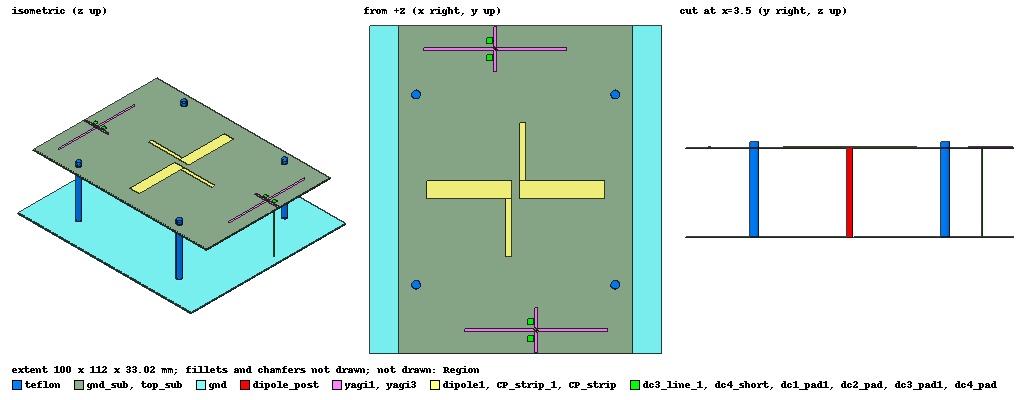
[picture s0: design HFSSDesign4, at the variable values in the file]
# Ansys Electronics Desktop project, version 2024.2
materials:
  Rogers RT/duroid 5880 (tm): permittivity=2.2 dielectric_loss_tangent=0.0009
  Teflon (tm): permittivity=2.1 dielectric_loss_tangent=0.001
  copper: permeability=0.999991 conductivity=58000000
  vacuum: permittivity=1

design HFSSDesign4 (HFSS, HFSS Modal Network, model units mm)
options: Allow_Material_Override
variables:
  gnd_subx = 100mm
  gnd_suby = 112mm
  gnd_subz = 0.5mm
  thickness_metal = 0.018mm
  slot_w = 2mm  # optimise 1mm..3mm
  slot_l = 37mm  # optimise 34mm..40mm
  feedline1_w = 3.58mm
  feedline1_l = 30mm
  feedline2_xposi = 6mm
  feedline2_yposi = 9mm  # optimise 7mm..11mm
  feedline2_w = 1.49mm
  top_subx = 80mm
  top_suby = 112mm
  top_sub_zposi = 30mm  # optimise 28mm..32mm
  dipole_gap = 3mm  # optimise 2mm..4mm
  dipole_w = 6mm  # optimise 4mm..7mm
  dipole_l = 29mm  # 28; optimise 26mm..32mm
  dipole_post_xposi = 2mm  # optimise 1.5mm..3mm
  dipole_post_r = 1mm
  strip_w = 2mm  # optimise 1mm..3mm
  strip_l = 20mm  # 20; optimise 17mm..23mm
  yagi_w = 1mm  # optimise 0.5mm..2mm
  yagi_l1 = 49mm  # optimise 46mm..53mm
  yagi_l2 = 14.5mm  # 15; optimise 12mm..16mm
  yagi_yposi = 25mm  # optimise 15mm..19mm
  yagi_w2 = 1mm  # optimise 0.5mm..1.5mm
  yagi2_xposi = 0mm
  yagi2_rotate_deg = 45deg
  yagi_xmove = 7mm  # 6; optimise 5mm..9mm
  yagi2_xmove = 0mm
  yagi_cut_l = 2mm
  yagi_cut_w = 0.6mm
  rlc = 0.5mm
  para_w = 3mm
  para_dipole_gap = 1mm
  para_deg = 40deg
  para_roatate = 45deg
  pin_ind = 0.6nH
  pin_cap = 0.17pF
  pin_res = 8000ohm
  dc_pad = 2mm
  dc_line_w = 0.2mm
  yagi2_w = 1mm
  yagi2_l1 = 49mm
  yagi2_yposi = 17.5mm
  yagi3_l1 = yagi_l1
  yagi3_xmove = yagi_xmove
  yagi3_yposi = yagi_yposi
  yagi3_w2 = yagi_w2
  yagi3_w = yagi_w
  yagi3_l2 = yagi_l2
  pinstate = 3
  pinOFF = 8000ohm
  pinON = 2.1ohm
  dc_yposi = yagi_l2/8
  sup_xposi = 6mm
  pincapOFF = 0.17pF
  pincapON = 0pF
  gnd_cut_w = if(abs((dipole_gap/2+dipole_post_xposi)-dipole_post_r-gnd_sub_cut_w-gnd_cut_a-slot_w/2)>0.3mm,gnd_cut_a,if((dipole_gap/2+dipole_post_xposi)-dipole_post_r-gnd_sub_cut_w-gnd_cut_a-slot_w/2>0mm,(dipole_gap/2+dipole_post_xposi)-dipole_post_r-gnd_sub_cut_w-slot_w/2-0.3mm,(dipole_gap/2+dipole_post_xposi)-dipole_post_r-gnd_sub_cut_w-slot_w/2+0.3mm))
  gnd_sub_cut_w = 0.2mm
  gnd_cut_a = 1.1mm  # optimise 0mm..2mm
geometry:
  gnd_sub [Rogers RT/duroid 5880 (tm)] = box(corner=(-gnd_subx/2, -gnd_suby/2, 0mm), size=(gnd_subx, gnd_suby, -gnd_subz))
  gnd [copper] = box(corner=(-gnd_subx/2, -gnd_suby/2, 0mm), size=(gnd_subx, gnd_suby, thickness_metal))
  slot = box(corner=(-slot_w/2, -slot_l/2, 0mm), size=(slot_w, slot_l, thickness_metal))
  gnd.subtract(slot)
  feedline1 [copper] = polyline((gnd_subx/2, 0mm, -gnd_subz) (gnd_subx/2-feedline1_l, 0mm, -gnd_subz), section line width=feedline1_w)
  feedline2 = polyline(z=-gnd_subz, xy: (-feedline2_xposi, -slot_l/2+feedline2_yposi) (gnd_subx/2-feedline1_l, -slot_l/2+feedline2_yposi) (gnd_subx/2-feedline1_l, slot_l/2-feedline2_yposi) (-feedline2_xposi, slot_l/2-feedline2_yposi), section line width=feedline2_w)
  feedline2.chamfer(Vertices=feedline1.vertex(at (20.745, -10.245, -0.5), at (20.745, 10.245, -0.5)) LeftDistance=1.49mm RightDistance=1.49mm ChamferType=Symmetric)
  feedline1.thicken(0.018mm)
  feedline2.thicken(-0.018mm)
  port = rectangle(corner=(gnd_subx/2, -feedline1_w/2, 0mm), y_size=feedline1_w, z_size=-gnd_subz)
  Region [vacuum] = region(absolute_offset=40mm on all sides)
  top_sub [Rogers RT/duroid 5880 (tm)] = box(corner=(-top_subx/2, -top_suby/2, top_sub_zposi), size=(top_subx, top_suby, gnd_subz))
  dipole1 [copper] = box(corner=(dipole_gap/2, -dipole_w/2, top_sub_zposi+gnd_subz), size=(dipole_l, dipole_w, thickness_metal))
  dipole2 = dipole1.duplicate_mirror(point=(0mm, 0mm, 0mm), normal=(-1mm, 0mm, 0mm))
  dipole1.unite(dipole2)
  dipole_post [copper] = cylinder(axis=Z, base_centre=(dipole_gap/2+dipole_post_xposi, 0mm, -gnd_subz), radius=dipole_post_r, height=top_sub_zposi+gnd_subz*2)
  dipole_post_1 [copper] = dipole_post.duplicate_mirror(point=(0mm, 0mm, 0mm), normal=(-1mm, 0mm, 0mm))
  CP_strip [copper] = box(corner=(dipole_gap/2, dipole_w/2, top_sub_zposi+gnd_subz), size=(strip_w, strip_l, thickness_metal))
  CP_strip_1 [copper] = CP_strip.duplicate_around_axis(axis=Z, angle=180deg, total=2)
  yagi1 [copper] = polyline((-yagi_l1/2, -dipole_w/2-strip_l-yagi_yposi, top_sub_zposi+gnd_subz) (yagi_l1/2, -dipole_w/2-strip_l-yagi_yposi, top_sub_zposi+gnd_subz), section line width=yagi_w)
  yagi2 = polyline((yagi2_xposi +yagi_xmove+yagi2_xmove, -dipole_w/2-strip_l-yagi_yposi -yagi_w/2-yagi_l2/2, top_sub_zposi+gnd_subz) (yagi2_xposi+yagi_xmove+yagi2_xmove, -dipole_w/2-strip_l-yagi_yposi +yagi_w/2+yagi_l2/2, top_sub_zposi+gnd_subz), section line width=yagi_w2)
  [yagi1, yagi2].thicken(-0.018mm)
  coordinate_system RelativeCS1 = origin=(yagi_xmove, -dipole_w/2-strip_l-yagi_yposi, top_sub_zposi+gnd_subz) x=(1mm, 0mm, 0mm) y=(0mm, 1mm, 0mm)
  yagi1.move(yagi_xmove, 0mm, 0mm)
  yagi_cut = polyline((yagi2_xposi +yagi_xmove+yagi2_xmove-yagi_cut_l, -dipole_w/2-strip_l-yagi_yposi, top_sub_zposi+gnd_subz) (yagi2_xposi +yagi_xmove+yagi2_xmove+yagi_cut_l, -dipole_w/2-strip_l-yagi_yposi, top_sub_zposi+gnd_subz), section line width=yagi_cut_w)
  yagi_cut.rotate(axis=Z, angle=-45deg) in RelativeCS1
  yagi_cut.thicken(-0.018mm)
  yagi_cut_1 = yagi_cut.copy()
  yagi1.subtract(yagi_cut_1)
  yagi2.subtract(yagi_cut)
  yagi1.unite(yagi2)
  sw1_1 = rectangle(corner=(yagi2_xposi +yagi_xmove+yagi2_xmove-rlc, -dipole_w/2-strip_l-yagi_yposi -rlc/2, top_sub_zposi+gnd_subz), x_size=rlc, y_size=rlc)
  sw1_2 = rectangle(corner=(yagi2_xposi +yagi_xmove+yagi2_xmove, -dipole_w/2-strip_l-yagi_yposi -rlc/2, top_sub_zposi+gnd_subz), x_size=rlc, y_size=rlc)
  coordinate_system RelativeCS2 = origin=(-yagi3_xmove, -(-dipole_w/2-strip_l-yagi_yposi), top_sub_zposi+gnd_subz) x=(1mm, 0mm, 0mm) y=(0mm, 1mm, 0mm)
  yagi3 [copper] = polyline((-yagi3_l1/2-yagi3_xmove, dipole_w/2+strip_l+yagi3_yposi, top_sub_zposi+gnd_subz) (yagi3_l1/2-yagi3_xmove, dipole_w/2+strip_l+yagi3_yposi, top_sub_zposi+gnd_subz), section line width=yagi3_w)
  yagi4 = polyline((-yagi3_xmove, -(-dipole_w/2-strip_l-yagi3_yposi -yagi3_w/2-yagi3_l2/2 ), top_sub_zposi+gnd_subz) (-yagi3_xmove, -(-dipole_w/2-strip_l-yagi3_yposi +yagi3_w/2+yagi3_l2/2 ), top_sub_zposi+gnd_subz), section line width=yagi3_w2)
  yagi3_cut = polyline((-yagi3_xmove-yagi_cut_l, -(-dipole_w/2-strip_l-yagi3_yposi), top_sub_zposi+gnd_subz) (-yagi3_xmove+yagi_cut_l, -(-dipole_w/2-strip_l-yagi3_yposi), top_sub_zposi+gnd_subz), section line width=rlc)
  yagi3_cut.rotate(axis=Z, angle=-45deg) in RelativeCS2
  yagi3.unite(yagi4)
  yagi3.subtract(yagi3_cut)
  yagi3.thicken(-0.018mm)
  [sw1_1, sw1_2].rotate(axis=Z, angle=45deg) in RelativeCS1
  sw2_1 = rectangle(corner=(-yagi3_xmove-rlc, -(-dipole_w/2-strip_l-yagi3_yposi)-rlc/2, top_sub_zposi+gnd_subz), x_size=rlc, y_size=rlc)
  sw2_2 = rectangle(corner=(-yagi3_xmove, -(-dipole_w/2-strip_l-yagi3_yposi)-rlc/2, top_sub_zposi+gnd_subz), x_size=rlc, y_size=rlc)
  [sw2_1, sw2_2].rotate(axis=Z, angle=45deg) in RelativeCS2
  feedline1.unite(feedline2)
  gnd_sub_cut = cylinder(axis=Z, base_centre=(dipole_gap/2+dipole_post_xposi, 0mm, 0), radius=dipole_post_r+gnd_sub_cut_w, height=-gnd_subz)
  top_sub_post_cut = cylinder(axis=Z, base_centre=(dipole_gap/2+dipole_post_xposi, 0mm, top_sub_zposi), radius=dipole_post_r+0.2mm, height=gnd_subz)
  top_sub_post_cut_1 = top_sub_post_cut.duplicate_mirror(point=(0mm, 0mm, 0mm), normal=(-1mm, 0mm, 0mm))
  top_sub.subtract(top_sub_post_cut, top_sub_post_cut_1)
  coordinate_system RelativeCS3 = origin=(yagi_xmove, -dipole_w/2-strip_l-yagi_yposi, top_sub_zposi+gnd_subz) x=(1mm, 0mm, 0mm) y=(0mm, 1mm, 0mm)
  dc1_pad1 [copper] = box(corner=(-yagi_w2/2-rlc, dc_yposi, 0mm), size=(-dc_pad, dc_pad, thickness_metal)) in RelativeCS3
  dc1_pad2 [copper] = box(corner=(-yagi_w2/2-rlc-dc_pad/2, dc_yposi +dc_pad+rlc, -(top_sub_zposi+gnd_subz*2+thickness_metal)), size=(-dc_pad, dc_pad, thickness_metal)) in RelativeCS3
  dc1_line3 [copper] = cylinder(axis=Z, base_centre=(-yagi_w2/2-rlc-dc_pad/2, dc_yposi +dc_pad/2, 0mm), radius=0.1mm, height=-top_sub_zposi-gnd_subz*2) in RelativeCS3
  dc1_pad3 = box(corner=(-yagi_w2/2-rlc-dc_pad*2-rlc, dc_yposi, -(top_sub_zposi+gnd_subz*2+thickness_metal)), size=(-dc_pad, dc_pad, thickness_metal)) in RelativeCS3
  iso_ind = rectangle(corner=(-yagi_w2/2, dc_yposi +dc_pad/2-rlc/2, 0mm), x_size=-rlc, y_size=rlc) in RelativeCS3
  iso_cap = rectangle(corner=(-yagi_w2/2-rlc -dc_pad+rlc/2, dc_yposi +dc_pad, -(top_sub_zposi+gnd_subz*2+thickness_metal)), x_size=-rlc, y_size=rlc) in RelativeCS3
  iso_res = rectangle(corner=(-yagi_w2/2-rlc-dc_pad*2, dc_yposi +dc_pad/2-rlc/2, -(top_sub_zposi+gnd_subz*2+thickness_metal)), x_size=-rlc, y_size=rlc) in RelativeCS3
  dc2_pad [copper] = box(corner=(-yagi_w2/2-rlc, -dc_yposi, 0mm), size=(-dc_pad, -dc_pad, thickness_metal)) in RelativeCS3
  iso2_ind = rectangle(corner=(-yagi_w2/2, -dc_yposi -dc_pad/2+rlc/2, 0mm), x_size=-rlc, y_size=-rlc) in RelativeCS3
  dc1_line = polyline((-yagi_w2/2-rlc-dc_pad*2-rlc-dc_pad, dc_yposi  +dc_pad/2, -(top_sub_zposi+gnd_subz*2+thickness_metal)) (-top_subx/2-yagi_xmove, dc_yposi  +dc_pad/2, -(top_sub_zposi+gnd_subz*2+thickness_metal)), section line width=dc_line_w) in RelativeCS3
  dc1_line.thicken(-thickness_metal)
  dc1_pad4 [copper] = box(corner=(-top_subx/2-yagi_xmove, dc_yposi, -(top_sub_zposi+gnd_subz*2+thickness_metal)), size=(dc_pad*3, dc_pad, thickness_metal)) in RelativeCS3
  dc3_pad1 [copper] = box(corner=(-yagi_w2/2-rlc, dc_yposi, 0mm), size=(-dc_pad, dc_pad, thickness_metal)) in RelativeCS2
  dc3_pad2 [copper] = box(corner=(-yagi_w2/2-rlc-dc_pad/2, dc_yposi+dc_pad+rlc, -(top_sub_zposi+gnd_subz*2+thickness_metal)), size=(-dc_pad, dc_pad, thickness_metal)) in RelativeCS2
  dc3_pad3 = box(corner=(-yagi_w2/2-rlc-dc_pad*2-rlc, dc_yposi, -(top_sub_zposi+gnd_subz*2+thickness_metal)), size=(-dc_pad, dc_pad, thickness_metal)) in RelativeCS2
  iso3_ind1 = rectangle(corner=(-yagi_w2/2, dc_yposi+dc_pad/2-rlc/2, 0mm), x_size=-rlc, y_size=rlc) in RelativeCS2
  iso3_cap1 = rectangle(corner=(-yagi_w2/2-rlc -dc_pad+rlc/2, dc_yposi+dc_pad, -(top_sub_zposi+gnd_subz*2+thickness_metal)), x_size=-rlc, y_size=rlc) in RelativeCS2
  iso3_res1 = rectangle(corner=(-yagi_w2/2-rlc-dc_pad*2, dc_yposi+dc_pad/2-rlc/2, -(top_sub_zposi+gnd_subz*2+thickness_metal)), x_size=-rlc, y_size=rlc) in RelativeCS2
  dc4_pad [copper] = box(corner=(-yagi_w2/2-rlc, -dc_yposi, 0mm), size=(-dc_pad, -dc_pad, thickness_metal)) in RelativeCS2
  iso4_ind1 = rectangle(corner=(-yagi_w2/2, -dc_yposi-dc_pad/2+rlc/2, 0mm), x_size=-rlc, y_size=-rlc) in RelativeCS2
  dc3_line_1 [copper] = cylinder(axis=Z, base_centre=(-yagi_w2/2-rlc-dc_pad/2, dc_yposi+dc_pad/2, 0mm), radius=0.1mm, height=-top_sub_zposi-gnd_subz*2) in RelativeCS2
  dc3_pad4 [copper] = box(corner=(-top_subx/2+yagi3_xmove, dc_yposi, -(top_sub_zposi+gnd_subz*2+thickness_metal)), size=(dc_pad*3, dc_pad, thickness_metal)) in RelativeCS2
  dc3_line = polyline((-yagi_w2/2-rlc-dc_pad*2-rlc-dc_pad, dc_yposi+dc_pad/2, -(top_sub_zposi+gnd_subz*2+thickness_metal)) (-top_subx/2+yagi3_xmove, dc_yposi+dc_pad/2, -(top_sub_zposi+gnd_subz*2+thickness_metal)), section line width=dc_line_w) in RelativeCS2
  dc3_line.thicken(-thickness_metal)
  teflon [Teflon (tm)] = cylinder(axis=Z, base_centre=(top_subx/2-sup_xposi, strip_l+yagi_yposi/2, -gnd_subz), radius=1.5mm, height=gnd_subz+top_sub_zposi+gnd_subz+2mm)
  teflon_1 = teflon.duplicate_mirror(point=(0mm, 0mm, 0mm), normal=(-1mm, 0mm, 0mm))
  teflon_2 = teflon.duplicate_mirror(point=(0mm, 0mm, 0mm), normal=(0mm, -1mm, 0mm))
  teflon_1_1 = teflon_1.duplicate_mirror(point=(0mm, 0mm, 0mm), normal=(0mm, -1mm, 0mm))
  teflon.unite(teflon_1, teflon_1_1, teflon_2)
  teflon_3 = teflon.copy()
  gnd.subtract(teflon_3)
  teflon_4 = teflon.copy()
  gnd_sub.subtract(teflon_4)
  teflon_5 = teflon.copy()
  top_sub.subtract(teflon_5)
  dc_pad5 [copper] = box(corner=(-yagi_w2/2-rlc, dc_yposi, -(top_sub_zposi+gnd_subz*2+thickness_metal)), size=(-dc_pad*2, dc_pad, thickness_metal)) in RelativeCS1
  dc_line4 [copper] = cylinder(axis=Z, base_centre=(-yagi_w2/2-rlc-dc_pad/2, -dc_yposi -dc_pad/2, 0), radius=0.15mm, height=-(top_sub_zposi+gnd_subz)) in RelativeCS1
  dc3_pad [copper] = box(corner=(-yagi_w2/2-rlc, dc_yposi, -(top_sub_zposi+gnd_subz*2+thickness_metal)), size=(-dc_pad*2, dc_pad, thickness_metal)) in RelativeCS2
  dc4_short [copper] = cylinder(axis=Z, base_centre=(-yagi_w2/2-rlc-dc_pad/2, -dc_yposi -dc_pad/2, 0mm), radius=0.1mm, height=-(top_sub_zposi+gnd_subz)) in RelativeCS2
  dc3_pad4.unite(dc3_line, dc3_pad3)
  dc1_pad4.unite(dc1_line, dc1_pad3)
  dc3_shortvia [copper] = cylinder(axis=Z, base_centre=(-yagi_w2/2-rlc-dc_pad/2-dc_pad/2, dc_yposi+dc_pad+rlc+dc_pad/2, -(top_sub_zposi+gnd_subz*2)), radius=0.5mm, height=gnd_subz) in RelativeCS2
  dc2_shortvia [copper] = cylinder(axis=Z, base_centre=(-yagi_w2/2-rlc-dc_pad/2-dc_pad/2, dc_yposi+dc_pad+rlc+dc_pad/2, -(top_sub_zposi+gnd_subz*2)), radius=0.5mm, height=gnd_subz) in RelativeCS1
  gnd_sub_cut_3 = cylinder(axis=Z, base_centre=(-yagi_w2/2-rlc-dc_pad/2, dc_yposi +dc_pad/2, -(top_sub_zposi+gnd_subz)+thickness_metal), radius=0.5mm, height=-gnd_subz-thickness_metal) in RelativeCS1
  gnd_sub_cut_3_1 = gnd_sub_cut_3.copy()
  gnd.subtract(gnd_sub_cut_3_1)
  gnd_sub.subtract(gnd_sub_cut_3)
  gnd_sub_cut_4 = cylinder(axis=Z, base_centre=(-yagi_w2/2-rlc-dc_pad/2, dc_yposi +dc_pad/2, -(top_sub_zposi+gnd_subz)+thickness_metal), radius=0.5mm, height=-gnd_subz-thickness_metal) in RelativeCS2
  gnd_sub_cut_4_1 = gnd_sub_cut_4.copy()
  gnd.subtract(gnd_sub_cut_4_1)
  gnd_sub.subtract(gnd_sub_cut_4)
  gnd_sub_cut_5 = gnd_sub_cut.duplicate_mirror(point=(0mm, 0mm, 0mm), normal=(-1mm, 0mm, 0mm))
  gnd_sub_cut.unite(gnd_sub_cut_5)
  gnd_cut = cylinder(axis=Z, base_centre=(dipole_gap/2+dipole_post_xposi, 0mm, 0mm), radius=dipole_post_r+gnd_sub_cut_w+gnd_cut_w, height=thickness_metal)
  gnd_cut_1 = gnd_cut.duplicate_mirror(point=(0mm, 0mm, 0mm), normal=(-1mm, 0mm, 0mm))
  gnd_cut.unite(gnd_cut_1)
  gnd.subtract(gnd_cut)
  post_pad1 [copper] = cylinder(axis=Z, base_centre=(dipole_gap/2+dipole_post_xposi, 0mm, -gnd_subz), radius=dipole_post_r+gnd_sub_cut_w+1mm, height=-thickness_metal)
  post_pad1_1 = post_pad1.duplicate_mirror(point=(0mm, 0mm, 0mm), normal=(-1mm, 0mm, 0mm))
  post_pad1.unite(post_pad1_1)
  gnd_sub.subtract(gnd_sub_cut)
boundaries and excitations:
  Rad1: Radiation Objects=Region
  sw1_1: Lumped RLC Objects=sw1_1 CurrentLine{(7, -48, 30.5) -> (6.6464466, -48.353553, 30.5)} RLC_Type=Serial Inductance=pin_ind
  sw1_2: Lumped RLC Objects=sw1_2 CurrentLine{(7.3535534, -47.646447, 30.5) -> (7, -48, 30.5)} RLC_Type=Parallel Resistance=if(pinstate<1.5,pinOFF,if(pinstate<2.5,pinON,pinOFF)) Capacitance=if(pinstate<1.5,pincapOFF,if(pinstate<2.5,pincapON,pincapOFF))
  sw2_1: Lumped RLC Objects=sw2_1 CurrentLine{(-7, 48, 30.5) -> (-7.3535534, 47.646447, 30.5)} RLC_Type=Parallel Inductance=pin_ind
  sw2_2: Lumped RLC Objects=sw2_2 CurrentLine{(-6.6464466, 48.353553, 30.5) -> (-7, 48, 30.5)} RLC_Type=Parallel Resistance=if(pinstate<1.5,pinON,pinOFF) Capacitance=if(pinstate<1.5,pincapON,pincapOFF)
  short_ind1: Lumped RLC Objects=iso2_ind CurrentLine{(6.5, -50.8125, 30.5) -> (6, -50.8125, 30.5)} RLC_Type=Parallel Inductance=100nH
  iso_ind1: Lumped RLC Objects=iso_ind CurrentLine{(6.5, -45.1875, 30.5) -> (6, -45.1875, 30.5)} RLC_Type=Parallel Inductance=56nH
  iso_cap2: Lumped RLC Objects=iso_cap CurrentLine{(4, -44.1875, -0.518) -> (4, -43.6875, -0.518)} RLC_Type=Parallel Capacitance=100pF
  iso_res1: Lumped RLC Objects=iso_res CurrentLine{(2, -45.1875, -0.518) -> (1.5, -45.1875, -0.518)} RLC_Type=Parallel Resistance=100ohm
  short_ind2: Lumped RLC Objects=iso4_ind1 CurrentLine{(-7.5, 45.1875, 30.5) -> (-8, 45.1875, 30.5)} RLC_Type=Parallel Inductance=100nH
  iso_ind2: Lumped RLC Objects=iso3_ind1 CurrentLine{(-7.5, 50.8125, 30.5) -> (-8, 50.8125, 30.5)} RLC_Type=Parallel Inductance=56nH
  iso_cap1: Lumped RLC Objects=iso3_cap1 CurrentLine{(-10, 51.8125, -0.518) -> (-10, 52.3125, -0.518)} RLC_Type=Parallel Capacitance=100pF
  iso_res2: Lumped RLC Objects=iso3_res1 CurrentLine{(-12, 50.8125, -0.518) -> (-12.5, 50.8125, -0.518)} RLC_Type=Parallel Resistance=100ohm
  1: Lumped Port Objects=port LumpedPortType=Modal Modes{Mode1{IntLine{(50, 0, -0.5) -> (50, 0, 0)} CharImp=Zpi RenormImp=50ohm}} Impedance=50ohm
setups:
  Setup1: HfssDriven Frequency=2.44GHz MaxDeltaS=0.02 MaximumPasses=10 MinimumPasses=1 MinimumConvergedPasses=1 PercentRefinement=30 BasisOrder=-1 PortAccuracy=2 DrivenSolverType="Iterative Solver" IterativeResidual=0.0001 DDMSolverResidual=0.0001
    sweep Sweep: 2.4GHz to 2.48GHz step 0.02GHz; Type=Discrete SaveFields
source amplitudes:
  1:1: 1W 0deg
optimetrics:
  ParametricSetup1: Parametric Sim._Setups=[Setup1]
    sweep pinstate: LIN 1 3 1
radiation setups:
  Infinite Sphere1: Infinite Sphere Theta=-180deg..180deg step 5deg Phi=-180deg..180deg step 5deg
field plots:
  Mag_E1: E Field over top_sub.face(+z) on Setup1 : LastAdaptive at Freq=2.44GHz Phase=0deg
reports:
  S Parameter Plot 1: dB(S(1,1)) vs Freq on Setup1 : Sweep [pinstate=all]; markers MX1 at x=2.4e+09, MX2 at x=2.48e+09
  Realized Gain Plot 1: dB(RealizedGainTotal) vs Phi, Theta on Setup1 : LastAdaptive, Infinite Sphere1 [Freq=2.44GHz pinstate=1]
  Realized Gain Plot 4: dB(RealizedGainLHCP) vs Theta on Setup1 : LastAdaptive, Infinite Sphere1 [Phi=90deg Freq=2.44GHz pinstate=all]; dB(RealizedGainRHCP) vs Theta on Setup1 : LastAdaptive, Infinite Sphere1 [Phi=90deg Freq=2.44GHz]
  Axial Ratio Plot 2_1: dB(AxialRatioValue) vs Theta on Setup1 : LastAdaptive, Infinite Sphere1 [Phi=90deg Freq=2.44GHz]
  Directivity Plot 1: dB(DirLHCP), dB(DirRHCP) vs Theta on Setup1 : LastAdaptive, Infinite Sphere1 [Phi=90deg Freq=2.44GHz]; dB(DirLHCP) vs Theta; markers m1 at 0deg, m2 at 30deg
  Axial Ratio Plot 1_1: dB(AxialRatioValue) vs Freq on Setup1 : Sweep, Infinite Sphere1 [Phi=90deg Theta=0deg]; markers MX1 at x=2.48e+09
  Axial Ratio Plot 1: dB(AxialRatioValue) vs Freq on Setup1 : Sweep, Infinite Sphere1 [Phi=90deg Theta=-14deg]; markers MX1 at x=2.48e+09
  Axial Ratio Plot 1_2: dB(AxialRatioValue) vs Freq on Setup1 : Sweep, Infinite Sphere1 [Phi=90deg Theta=14deg]; markers MX1 at x=2.48e+09
